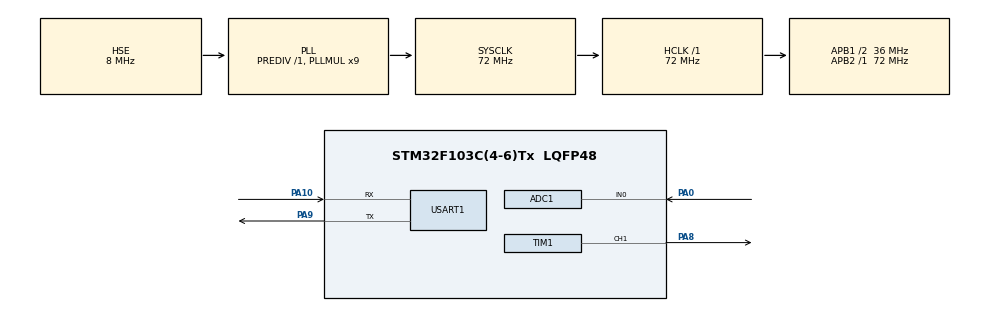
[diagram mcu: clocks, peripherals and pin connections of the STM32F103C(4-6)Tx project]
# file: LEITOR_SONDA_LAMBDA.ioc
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ADC1.Channel-0\#ChannelRegularConversion=ADC_CHANNEL_0
ADC1.NbrOfConversionFlag=1
ADC1.Rank-0\#ChannelRegularConversion=1
ADC1.SamplingTime-0\#ChannelRegularConversion=ADC_SAMPLETIME_1CYCLE_5
ADC1.master=1
Mcu.Family=STM32F1
Mcu.Name=STM32F103C(4-6)Tx
Mcu.Package=LQFP48
NVIC.PriorityGroup=NVIC_PRIORITYGROUP_4
NVIC.TIM2_IRQn=true\:0\:0\:false\:false\:true\:true\:true\:true
PA0-WKUP.Signal=ADCx_IN0
PA10.Mode=Asynchronous
PA10.Signal=USART1_RX
PA13.Mode=Serial_Wire
PA13.Signal=SYS_JTMS-SWDIO
PA14.Mode=Serial_Wire
PA14.Signal=SYS_JTCK-SWCLK
PA8.Signal=S_TIM1_CH1
PA9.Mode=Asynchronous
PA9.Signal=USART1_TX
PD0-OSC_IN.Mode=HSE-External-Oscillator
PD0-OSC_IN.Signal=RCC_OSC_IN
PD1-OSC_OUT.Mode=HSE-External-Oscillator
PD1-OSC_OUT.Signal=RCC_OSC_OUT
ProjectManager.HeapSize=0x200
ProjectManager.StackSize=0x400
ProjectManager.TargetToolchain=STM32CubeIDE
RCC.ADCPresc=RCC_ADCPCLK2_DIV6
RCC.AHBFreq_Value=72000000
RCC.APB1CLKDivider=RCC_HCLK_DIV2
RCC.APB1Freq_Value=36000000
RCC.APB1TimFreq_Value=72000000
RCC.APB2Freq_Value=72000000
RCC.APB2TimFreq_Value=72000000
RCC.HCLKFreq_Value=72000000
RCC.PLLMUL=RCC_PLL_MUL9
RCC.PLLSourceVirtual=RCC_PLLSOURCE_HSE
RCC.SYSCLKFreq_VALUE=72000000
RCC.SYSCLKSource=RCC_SYSCLKSOURCE_PLLCLK
RCC.USBFreq_Value=72000000
SH.ADCx_IN0.0=ADC1_IN0,IN0
SH.S_TIM1_CH1.0=TIM1_CH1,PWM Generation1 CH1
TIM1.AutoReloadPreload=TIM_AUTORELOAD_PRELOAD_ENABLE
TIM1.Channel-PWM\ Generation1\ CH1=TIM_CHANNEL_1
TIM1.Period=1000
TIM1.Prescaler=71
TIM2.AutoReloadPreload=TIM_AUTORELOAD_PRELOAD_ENABLE
TIM2.Period=10000
TIM2.Prescaler=71
TIM3.Period=10000
TIM3.Prescaler=719
USART1.VirtualMode=VM_ASYNC
VP_TIM1_VS_ClockSourceINT.Mode=Internal
VP_TIM1_VS_ClockSourceITR.Mode=TriggerSource_ITR0
VP_TIM2_VS_ClockSourceINT.Mode=Internal
VP_TIM2_VS_ClockSourceITR.Mode=TriggerSource_ITR0
VP_TIM3_VS_ClockSourceINT.Mode=Internal
VP_TIM3_VS_ClockSourceITR.Mode=TriggerSource_ITR0
board=custom

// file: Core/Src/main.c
/* USER CODE BEGIN Header */
/**
  ******************************************************************************
  * @file           : main.c
  * @brief          : Main program body
  ******************************************************************************
  * @attention
  *
  * Copyright (c) 2026 STMicroelectronics.
  * All rights reserved.
  *
  * This software is licensed under terms that can be found in the LICENSE file
  * in the root directory of this software component.
  * If no LICENSE file comes with this software, it is provided AS-IS.
  *
  ******************************************************************************
  */
/* USER CODE END Header */
#include "main.h"

/* USER CODE BEGIN Includes */
#include "stdio.h"
#include "string.h"
/* USER CODE END Includes */

/* USER CODE BEGIN PTD */
typedef enum {
	M_Rica = 0,
	M_Estequiometrica = 1,
	M_Pobre =2
}LambdaState;

/* USER CODE END PTD */

/* USER CODE BEGIN PD */
#define AF_GAS 14.7
/* USER CODE END PD */

ADC_HandleTypeDef hadc1;

TIM_HandleTypeDef htim1;
TIM_HandleTypeDef htim2;
TIM_HandleTypeDef htim3;

UART_HandleTypeDef huart1;

/* USER CODE BEGIN PV */
volatile uint32_t adc_value = 0;
volatile uint32_t *adc_value_Pont;
uint16_t mV_Lambda = 0;
float VoltLambda = 0.0;
uint8_t mensagem[4];
uint16_t ValorDutyPWM = 0;
// Definição dos coeficientes do filtro IIR
float alpha = 0.05;  // Fator de suavização (entre 0 e 1), controle da resposta do filtro
float y_ant = 0;    // Variável para armazenar o valor anterior da saída do filtro
LambdaState FatorLambda;

/* USER CODE END PV */

void SystemClock_Config(void);
static void MX_GPIO_Init(void);
static void MX_ADC1_Init(void);
static void MX_TIM1_Init(void);
static void MX_USART1_UART_Init(void);
static void MX_TIM2_Init(void);
static void MX_TIM3_Init(void);
/* USER CODE BEGIN PFP */
uint32_t Read_ADC1_Polling(void);

/* USER CODE END PFP */

int main(void)
{

  /* MCU Configuration--------------------------------------------------------*/

  /* Reset of all peripherals, Initializes the Flash interface and the Systick. */
  HAL_Init();

  /* Configure the system clock */
  SystemClock_Config();

  /* Initialize all configured peripherals */
  MX_GPIO_Init();
  MX_ADC1_Init();
  MX_TIM1_Init();
  MX_USART1_UART_Init();
  MX_TIM2_Init();
  MX_TIM3_Init();
  /* USER CODE BEGIN 2 */
  HAL_ADC_Stop(&hadc1); //Desabilita o periférico
  HAL_ADCEx_Calibration_Start(&hadc1);

  __HAL_TIM_ENABLE(&htim1);
  HAL_TIM_PWM_Start(&htim1, TIM_CHANNEL_1);

  HAL_TIM_Base_Start_IT(&htim2);
  HAL_TIM_Base_Start_IT(&htim3);

  ValorDutyPWM = 4000;
  TIM1->CCR1 = ValorDutyPWM;

  /* USER CODE END 2 */

  /* Infinite loop */
  /* USER CODE BEGIN WHILE */
  while (1)
  {
	  //**** Conversão para volt *******
	  mV_Lambda = (*adc_value_Pont)*0.80566;
	  VoltLambda = mV_Lambda*0.001;

	  	  if(mV_Lambda<300){
	  		FatorLambda = M_Pobre;
	  	  }
	  	  else if(mV_Lambda>500){
	  		FatorLambda = M_Rica;
	  	  }
	  	  else{
	  		FatorLambda = M_Estequiometrica;
	  	  }

			 mensagem[0] = 0x7F;
			 mensagem[3] = 0xF7;
			 mensagem[1] = (mV_Lambda>>8) & 0x00FF;
			 mensagem[2] = mV_Lambda & 0x00FF;

		HAL_UART_Transmit(&huart1, mensagem, 4, 10);
		//GPIOC->ODR ^= (1 << 13);
		HAL_Delay(50);

    /* USER CODE END WHILE */

  }
}

void SystemClock_Config(void)
{
  RCC_OscInitTypeDef RCC_OscInitStruct = {0};
  RCC_ClkInitTypeDef RCC_ClkInitStruct = {0};
  RCC_PeriphCLKInitTypeDef PeriphClkInit = {0};

  /** Initializes the RCC Oscillators according to the specified parameters
  * in the RCC_OscInitTypeDef structure.
  */
  RCC_OscInitStruct.OscillatorType = RCC_OSCILLATORTYPE_HSE;
  RCC_OscInitStruct.HSEState = RCC_HSE_ON;
  RCC_OscInitStruct.HSEPredivValue = RCC_HSE_PREDIV_DIV1;
  RCC_OscInitStruct.HSIState = RCC_HSI_ON;
  RCC_OscInitStruct.PLL.PLLState = RCC_PLL_ON;
  RCC_OscInitStruct.PLL.PLLSource = RCC_PLLSOURCE_HSE;
  RCC_OscInitStruct.PLL.PLLMUL = RCC_PLL_MUL9;
  if (HAL_RCC_OscConfig(&RCC_OscInitStruct) != HAL_OK)
  {
    Error_Handler();
  }

  /** Initializes the CPU, AHB and APB buses clocks
  */
  RCC_ClkInitStruct.ClockType = RCC_CLOCKTYPE_HCLK|RCC_CLOCKTYPE_SYSCLK
                              |RCC_CLOCKTYPE_PCLK1|RCC_CLOCKTYPE_PCLK2;
  RCC_ClkInitStruct.SYSCLKSource = RCC_SYSCLKSOURCE_PLLCLK;
  RCC_ClkInitStruct.AHBCLKDivider = RCC_SYSCLK_DIV1;
  RCC_ClkInitStruct.APB1CLKDivider = RCC_HCLK_DIV2;
  RCC_ClkInitStruct.APB2CLKDivider = RCC_HCLK_DIV1;

  if (HAL_RCC_ClockConfig(&RCC_ClkInitStruct, FLASH_LATENCY_2) != HAL_OK)
  {
    Error_Handler();
  }
  PeriphClkInit.PeriphClockSelection = RCC_PERIPHCLK_ADC;
  PeriphClkInit.AdcClockSelection = RCC_ADCPCLK2_DIV6;
  if (HAL_RCCEx_PeriphCLKConfig(&PeriphClkInit) != HAL_OK)
  {
    Error_Handler();
  }
}

static void MX_ADC1_Init(void)
{

  ADC_ChannelConfTypeDef sConfig = {0};

  /** Common config
  */
  hadc1.Instance = ADC1;
  hadc1.Init.ScanConvMode = ADC_SCAN_DISABLE;
  hadc1.Init.ContinuousConvMode = DISABLE;
  hadc1.Init.DiscontinuousConvMode = DISABLE;
  hadc1.Init.ExternalTrigConv = ADC_SOFTWARE_START;
  hadc1.Init.DataAlign = ADC_DATAALIGN_RIGHT;
  hadc1.Init.NbrOfConversion = 1;
  if (HAL_ADC_Init(&hadc1) != HAL_OK)
  {
    Error_Handler();
  }

  /** Configure Regular Channel
  */
  sConfig.Channel = ADC_CHANNEL_0;
  sConfig.Rank = ADC_REGULAR_RANK_1;
  sConfig.SamplingTime = ADC_SAMPLETIME_1CYCLE_5;
  if (HAL_ADC_ConfigChannel(&hadc1, &sConfig) != HAL_OK)
  {
    Error_Handler();
  }

}

static void MX_TIM1_Init(void)
{

  TIM_ClockConfigTypeDef sClockSourceConfig = {0};
  TIM_SlaveConfigTypeDef sSlaveConfig = {0};
  TIM_MasterConfigTypeDef sMasterConfig = {0};
  TIM_OC_InitTypeDef sConfigOC = {0};
  TIM_BreakDeadTimeConfigTypeDef sBreakDeadTimeConfig = {0};

  htim1.Instance = TIM1;
  htim1.Init.Prescaler = 71;
  htim1.Init.CounterMode = TIM_COUNTERMODE_UP;
  htim1.Init.Period = 10000;
  htim1.Init.ClockDivision = TIM_CLOCKDIVISION_DIV1;
  htim1.Init.RepetitionCounter = 0;
  htim1.Init.AutoReloadPreload = TIM_AUTORELOAD_PRELOAD_ENABLE;
  if (HAL_TIM_Base_Init(&htim1) != HAL_OK)
  {
    Error_Handler();
  }
  sClockSourceConfig.ClockSource = TIM_CLOCKSOURCE_INTERNAL;
  if (HAL_TIM_ConfigClockSource(&htim1, &sClockSourceConfig) != HAL_OK)
  {
    Error_Handler();
  }
  if (HAL_TIM_PWM_Init(&htim1) != HAL_OK)
  {
    Error_Handler();
  }
  sSlaveConfig.SlaveMode = TIM_SLAVEMODE_DISABLE;
  sSlaveConfig.InputTrigger = TIM_TS_ITR0;
  if (HAL_TIM_SlaveConfigSynchro(&htim1, &sSlaveConfig) != HAL_OK)
  {
    Error_Handler();
  }
  sMasterConfig.MasterOutputTrigger = TIM_TRGO_RESET;
  sMasterConfig.MasterSlaveMode = TIM_MASTERSLAVEMODE_DISABLE;
  if (HAL_TIMEx_MasterConfigSynchronization(&htim1, &sMasterConfig) != HAL_OK)
  {
    Error_Handler();
  }
  sConfigOC.OCMode = TIM_OCMODE_PWM1;
  sConfigOC.Pulse = 0;
  sConfigOC.OCPolarity = TIM_OCPOLARITY_HIGH;
  sConfigOC.OCNPolarity = TIM_OCNPOLARITY_HIGH;
  sConfigOC.OCFastMode = TIM_OCFAST_DISABLE;
  sConfigOC.OCIdleState = TIM_OCIDLESTATE_RESET;
  sConfigOC.OCNIdleState = TIM_OCNIDLESTATE_RESET;
  if (HAL_TIM_PWM_ConfigChannel(&htim1, &sConfigOC, TIM_CHANNEL_1) != HAL_OK)
  {
    Error_Handler();
  }
  sBreakDeadTimeConfig.OffStateRunMode = TIM_OSSR_DISABLE;
  sBreakDeadTimeConfig.OffStateIDLEMode = TIM_OSSI_DISABLE;
  sBreakDeadTimeConfig.LockLevel = TIM_LOCKLEVEL_OFF;
  sBreakDeadTimeConfig.DeadTime = 0;
  sBreakDeadTimeConfig.BreakState = TIM_BREAK_DISABLE;
  sBreakDeadTimeConfig.BreakPolarity = TIM_BREAKPOLARITY_HIGH;
  sBreakDeadTimeConfig.AutomaticOutput = TIM_AUTOMATICOUTPUT_DISABLE;
  if (HAL_TIMEx_ConfigBreakDeadTime(&htim1, &sBreakDeadTimeConfig) != HAL_OK)
  {
    Error_Handler();
  }
  HAL_TIM_MspPostInit(&htim1);

}

static void MX_TIM2_Init(void)
{

  TIM_ClockConfigTypeDef sClockSourceConfig = {0};
  TIM_SlaveConfigTypeDef sSlaveConfig = {0};
  TIM_MasterConfigTypeDef sMasterConfig = {0};

  htim2.Instance = TIM2;
  htim2.Init.Prescaler = 71;
  htim2.Init.CounterMode = TIM_COUNTERMODE_UP;
  htim2.Init.Period = 10000;
  htim2.Init.ClockDivision = TIM_CLOCKDIVISION_DIV1;
  htim2.Init.AutoReloadPreload = TIM_AUTORELOAD_PRELOAD_ENABLE;
  if (HAL_TIM_Base_Init(&htim2) != HAL_OK)
  {
    Error_Handler();
  }
  sClockSourceConfig.ClockSource = TIM_CLOCKSOURCE_INTERNAL;
  if (HAL_TIM_ConfigClockSource(&htim2, &sClockSourceConfig) != HAL_OK)
  {
    Error_Handler();
  }
  sSlaveConfig.SlaveMode = TIM_SLAVEMODE_DISABLE;
  sSlaveConfig.InputTrigger = TIM_TS_ITR0;
  if (HAL_TIM_SlaveConfigSynchro(&htim2, &sSlaveConfig) != HAL_OK)
  {
    Error_Handler();
  }
  sMasterConfig.MasterOutputTrigger = TIM_TRGO_RESET;
  sMasterConfig.MasterSlaveMode = TIM_MASTERSLAVEMODE_DISABLE;
  if (HAL_TIMEx_MasterConfigSynchronization(&htim2, &sMasterConfig) != HAL_OK)
  {
    Error_Handler();
  }

}

static void MX_TIM3_Init(void)
{

  TIM_ClockConfigTypeDef sClockSourceConfig = {0};
  TIM_SlaveConfigTypeDef sSlaveConfig = {0};
  TIM_MasterConfigTypeDef sMasterConfig = {0};

  htim3.Instance = TIM3;
  htim3.Init.Prescaler = 719;
  htim3.Init.CounterMode = TIM_COUNTERMODE_UP;
  htim3.Init.Period = 10000;
  htim3.Init.ClockDivision = TIM_CLOCKDIVISION_DIV1;
  htim3.Init.AutoReloadPreload = TIM_AUTORELOAD_PRELOAD_DISABLE;
  if (HAL_TIM_Base_Init(&htim3) != HAL_OK)
  {
    Error_Handler();
  }
  sClockSourceConfig.ClockSource = TIM_CLOCKSOURCE_INTERNAL;
  if (HAL_TIM_ConfigClockSource(&htim3, &sClockSourceConfig) != HAL_OK)
  {
    Error_Handler();
  }
  sSlaveConfig.SlaveMode = TIM_SLAVEMODE_DISABLE;
  sSlaveConfig.InputTrigger = TIM_TS_ITR0;
  if (HAL_TIM_SlaveConfigSynchro(&htim3, &sSlaveConfig) != HAL_OK)
  {
    Error_Handler();
  }
  sMasterConfig.MasterOutputTrigger = TIM_TRGO_RESET;
  sMasterConfig.MasterSlaveMode = TIM_MASTERSLAVEMODE_DISABLE;
  if (HAL_TIMEx_MasterConfigSynchronization(&htim3, &sMasterConfig) != HAL_OK)
  {
    Error_Handler();
  }

}

static void MX_USART1_UART_Init(void)
{

  huart1.Instance = USART1;
  huart1.Init.BaudRate = 115200;
  huart1.Init.WordLength = UART_WORDLENGTH_8B;
  huart1.Init.StopBits = UART_STOPBITS_1;
  huart1.Init.Parity = UART_PARITY_NONE;
  huart1.Init.Mode = UART_MODE_TX_RX;
  huart1.Init.HwFlowCtl = UART_HWCONTROL_NONE;
  huart1.Init.OverSampling = UART_OVERSAMPLING_16;
  if (HAL_UART_Init(&huart1) != HAL_OK)
  {
    Error_Handler();
  }

}

static void MX_GPIO_Init(void)
{

  /* GPIO Ports Clock Enable */
  __HAL_RCC_GPIOD_CLK_ENABLE();
  __HAL_RCC_GPIOA_CLK_ENABLE();

}

/* USER CODE BEGIN 4 */

uint32_t Read_ADC1_Polling(void)
{
  uint32_t value = 0;

  if (HAL_ADC_Start(&hadc1) == HAL_OK)
  {
    if (HAL_ADC_PollForConversion(&hadc1, 10) == HAL_OK)
    {
      value = HAL_ADC_GetValue(&hadc1);
    }
    HAL_ADC_Stop(&hadc1);
  }

  return value;
}

void HAL_TIM_PeriodElapsedCallback(TIM_HandleTypeDef *htim)
{
  if (htim->Instance == TIM2)
  {
    adc_value = Read_ADC1_Polling();
    //Filtro IIR
	  float y_atual = alpha * adc_value + (1 - alpha) * y_ant;
	  y_ant = y_atual;

	adc_value = (uint32_t)y_atual;
	adc_value_Pont = &adc_value;

  }
  else if (htim->Instance == TIM3)
  {
	  //Enviando a mensagem via interrupção de timer para garantir a taxa de atualização

  }
}

/* USER CODE END 4 */

void Error_Handler(void)
{
  __disable_irq();
  while (1)
  {
  }
}
